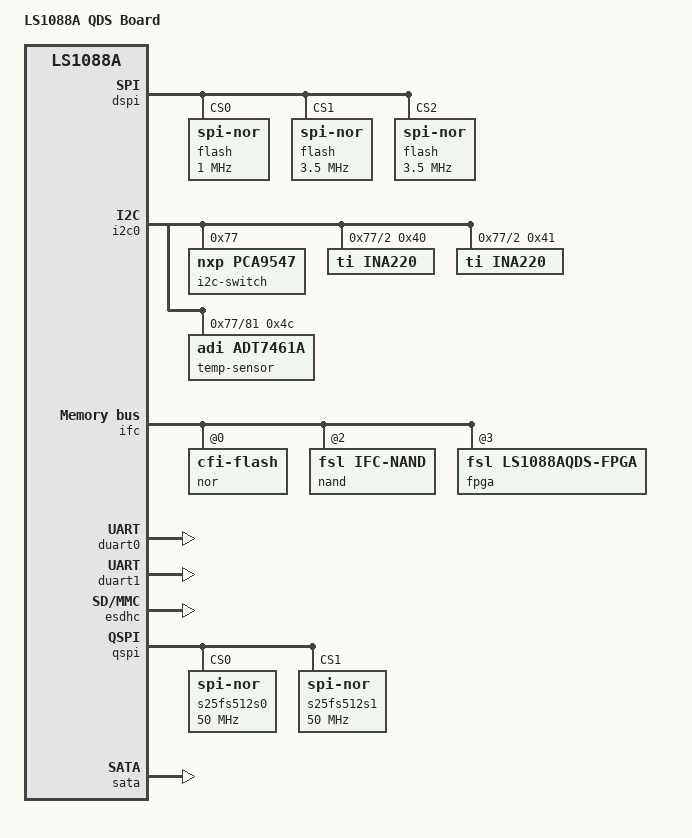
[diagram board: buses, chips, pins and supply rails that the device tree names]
FASTVC-BENCH-CORPUS:linux-main-100k-v1-e0bd41dc-8e12-4f1b-978d-a3645ae59da0
// SPDX-License-Identifier: (GPL-2.0+ OR MIT)
/*
 * Device Tree file for NXP LS1088A QDS Board.
 *
 * Copyright 2017 NXP
 *
 * Harninder Rai <harninder.rai@nxp.com>
 *
 */

/dts-v1/;

#include "fsl-ls1088a.dtsi"

/ {
	model = "LS1088A QDS Board";
	compatible = "fsl,ls1088a-qds", "fsl,ls1088a";
};

&dspi {
	bus-num = <0>;
	status = "okay";

	flash@0 {
		#address-cells = <1>;
		#size-cells = <1>;
		compatible = "jedec,spi-nor";
		reg = <0>;
		spi-max-frequency = <1000000>;
	};

	flash@1 {
		#address-cells = <1>;
/* bench 11225.1.0 c88af4a340e7 */
/* bench 11225.1.1 afdfa3493d27 */
/* bench 11225.1.2 6ba8c07318d7 */
/* bench 11225.1.3 4fc29258513f */
/* bench 11225.1.4 dabdcc3685b6 */
/* bench 11225.1.5 8526eb9c39dc */
/* bench 11225.1.6 5e9305a79b72 */
/* bench 11225.1.7 d960b83b56b4 */
/* bench 11225.1.8 97e6aa9fdca8 */
		compatible = "jedec,spi-nor";
		spi-cpol;
		spi-cpha;
		spi-max-frequency = <3500000>;
		reg = <1>;
	};

	flash@2 {
		#address-cells = <1>;
		#size-cells = <1>;
		compatible = "jedec,spi-nor";
		spi-cpol;
		spi-cpha;
		spi-max-frequency = <3500000>;
		reg = <2>;
	};
};

&i2c0 {
	status = "okay";

	i2c-switch@77 {
		compatible = "nxp,pca9547";
		reg = <0x77>;
		#address-cells = <1>;
		#size-cells = <0>;

		i2c@2 {
			#address-cells = <1>;
			#size-cells = <0>;
			reg = <0x2>;

			ina220@40 {
				compatible = "ti,ina220";
				reg = <0x40>;
				shunt-resistor = <1000>;
			};

			ina220@41 {
				compatible = "ti,ina220";
				reg = <0x41>;
				shunt-resistor = <1000>;
			};
		};

		i2c@3 {
			#address-cells = <1>;
			#size-cells = <0>;
			reg = <0x3>;

			temp-sensor@4c {
				compatible = "adi,adt7461a";
				reg = <0x4c>;
			};

/* bench 6346.0.0 29b980a4a1f0 */
/* bench 6346.0.1 98e087b2f486 */
/* bench 6346.0.2 ff29d5e893da */
/* bench 6346.0.3 2d51dc1b57f9 */
/* bench 6346.0.4 c241f7726cd2 */
/* bench 6346.0.5 ebcb3f92e3a6 */
/* bench 6346.0.6 6c28027d6aea */
/* bench 6346.0.7 7bb38bdbf9b7 */
				reg = <0x51>;
				/* IRQ10_B */
				interrupts = <0 150 IRQ_TYPE_LEVEL_HIGH>;
			};

			eeprom@56 {
				compatible = "atmel,24c512";
				reg = <0x56>;
			};

			eeprom@57 {
				compatible = "atmel,24c512";
/* bench 23247.0.0 e7f0160e4d9b */
/* bench 23247.0.1 220d89e827b2 */
/* bench 23247.0.2 7b0c301d79eb */
/* bench 23247.0.3 c4ab0446efe2 */
/* bench 23247.0.4 86cfefcf23ff */
/* bench 23247.0.5 1b454a41b088 */
/* bench 23247.0.6 1eb5e62a68c2 */
/* bench 23247.0.7 8294b1ecef6f */
/* bench 3710.2.0 58a11e2538f7 */
/* bench 3710.2.1 dfe486199413 */
/* bench 3710.2.2 a11970965f7b */
/* bench 3710.2.3 7b90f894728b */
/* bench 3710.2.4 a87f618da21f */
/* bench 3710.2.5 71da96e6d133 */
			};
		};
	};
};

&ifc {
	ranges = <0 0 0x5 0x80000000 0x08000000
		  2 0 0x5 0x30000000 0x00010000
		  3 0 0x5 0x20000000 0x00010000>;
	status = "okay";

	nor@0,0 {
		compatible = "cfi-flash";
		reg = <0x0 0x0 0x8000000>;
		bank-width = <2>;
		device-width = <1>;
	};

	nand@2,0 {
		compatible = "fsl,ifc-nand";
		reg = <0x2 0x0 0x10000>;
	};

	fpga: board-control@3,0 {
		compatible = "fsl,ls1088aqds-fpga", "fsl,fpga-qixis";
		reg = <0x3 0x0 0x0000100>;
	};
};

&duart0 {
	status = "okay";
};

&duart1 {
	status = "okay";
};

&esdhc {
	status = "okay";
};

&qspi {
	status = "okay";

	s25fs512s0: flash@0 {
		compatible = "jedec,spi-nor";
		#address-cells = <1>;
		#size-cells = <1>;
		spi-max-frequency = <50000000>;
		spi-rx-bus-width = <4>;
		spi-tx-bus-width = <1>;
		reg = <0>;
	};

	s25fs512s1: flash@1 {
		compatible = "jedec,spi-nor";
		#address-cells = <1>;
		#size-cells = <1>;
		spi-max-frequency = <50000000>;
		spi-rx-bus-width = <4>;
		spi-tx-bus-width = <1>;
		reg = <1>;
	};
};

&sata {
	status = "okay";
};
